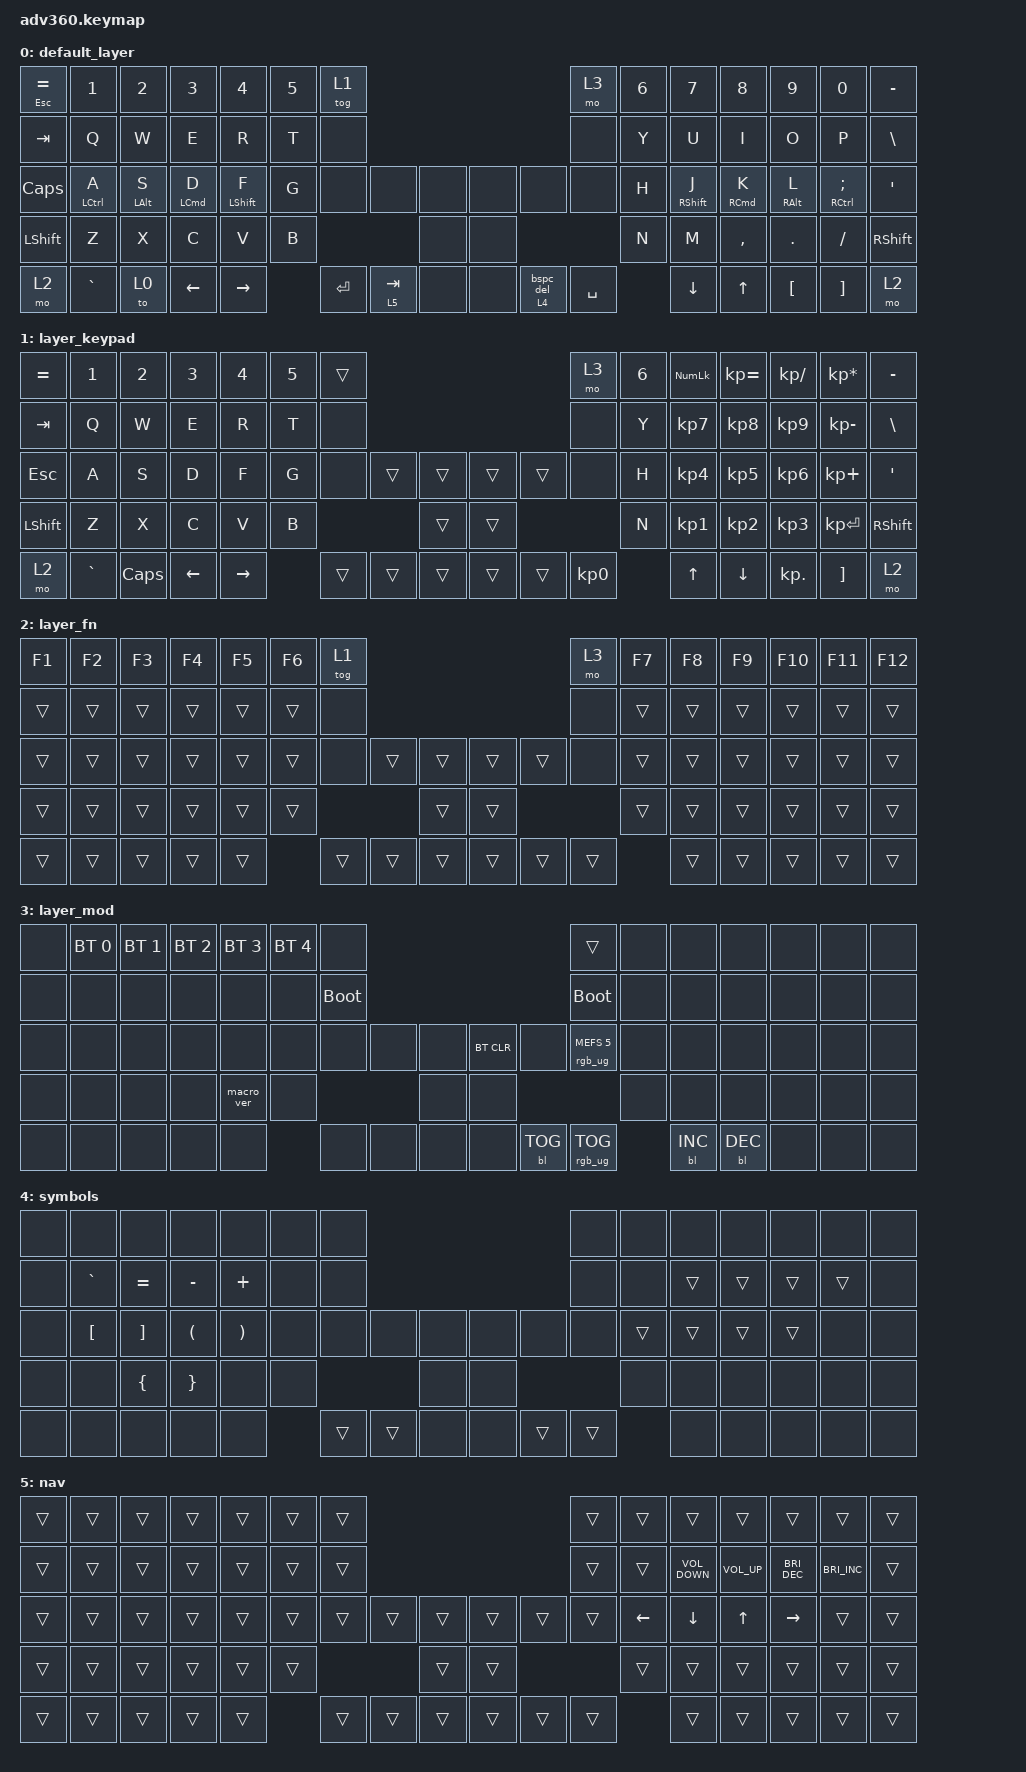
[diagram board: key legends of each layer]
/*
 * Copyright (c) 2020 The ZMK Contributors
 *
 * SPDX-License-Identifier: MIT
 */
/* THIS FILE WAS GENERATED!
 *
 * This file was generated automatically. You may or may not want to
 * edit it directly.
 */

#include <behaviors.dtsi>
#include <dt-bindings/zmk/backlight.h>
#include <dt-bindings/zmk/bt.h>
#include <dt-bindings/zmk/keys.h>
#include <dt-bindings/zmk/rgb.h>

/ {
    behaviors {
        #include "macros.dtsi"
    #include "version.dtsi"

        hm: homerow_mods {
            compatible = "zmk,behavior-hold-tap";
            label = "HOMEROW_MODS";
            #binding-cells = <2>;
            tapping-term-ms = <200>;
            quick_tap_ms = <175>;
            flavor = "tap-preferred";
            bindings = <&kp>, <&kp>;
        };

        bspc_del: backspace_delete {
            compatible = "zmk,behavior-mod-morph";
            label = "BACKSPACE_DELETE";
            bindings = <&kp BACKSPACE>, <&kp DELETE>;

            #binding-cells = <0>;
            mods = <(MOD_LSFT|MOD_RSFT)>;
        };

        hl: hidden_layer {
            compatible = "zmk,behavior-hold-tap";
            label = "HIDDEN_LAYER";
            bindings = <&mo>, <&kp>;

            #binding-cells = <2>;
            tapping-term-ms = <200>;
            flavor = "balanced";
        };

        bsp_combo: bsp_combo {
            compatible = "zmk,behavior-hold-tap";
            label = "BSP_COMBO";
            bindings = <&kp>, <&bspc_del>;

            #binding-cells = <2>;
            tapping-term-ms = <200>;
            flavor = "balanced";
        };

        bsp_layer_combo: bsp_layer_combo {
            compatible = "zmk,behavior-hold-tap";
            label = "BSP_LAYER_COMBO";
            bindings = <&mo>, <&bspc_del>;

            #binding-cells = <2>;
            tapping-term-ms = <200>;
            flavor = "balanced";
        };
    };

    keymap {
        compatible = "zmk,keymap";

        default_layer {
            bindings = <
&mt ESCAPE EQUAL  &kp N1              &kp N2          &kp N3              &kp N4            &kp N5  &tog 1                                                        &mo 3      &kp N6  &kp N7             &kp N8               &kp N9           &kp N0                  &kp MINUS
&kp TAB           &kp Q               &kp W           &kp E               &kp R             &kp T   &none                                                         &none      &kp Y   &kp U              &kp I                &kp O            &kp P                   &kp BSLH
&kp CAPSLOCK      &mt LEFT_CONTROL A  &mt LEFT_ALT S  &mt LEFT_COMMAND D  &mt LEFT_SHIFT F  &kp G   &none      &none      &none      &none  &none                 &none      &kp H   &mt RIGHT_SHIFT J  &mt RIGHT_COMMAND K  &mt RIGHT_ALT L  &mt RIGHT_CONTROL SEMI  &kp SQT
&kp LSHFT         &kp Z               &kp X           &kp C               &kp V             &kp B                         &none      &none                                   &kp N   &kp M              &kp COMMA            &kp DOT          &kp FSLH                &kp RSHFT
&mo 2             &kp GRAVE           &to 0           &kp LEFT            &kp RIGHT                 &kp ENTER  &hl 5 TAB  &none      &none  &bsp_layer_combo 4 0  &kp SPACE          &kp DOWN           &kp UP               &kp LBKT         &kp RBKT                &mo 2
            >;
        };

        layer_keypad {
            bindings = <
&kp EQUAL  &kp N1     &kp N2    &kp N3    &kp N4     &kp N5  &trans                                      &mo 3      &kp N6  &kp KP_NUM  &kp KP_EQUAL  &kp KP_DIVIDE  &kp KP_MULTIPLY  &kp MINUS
&kp TAB    &kp Q      &kp W     &kp E     &kp R      &kp T   &none                                       &none      &kp Y   &kp KP_N7   &kp KP_N8     &kp KP_N9      &kp KP_MINUS     &kp BSLH
&kp ESC    &kp A      &kp S     &kp D     &kp F      &kp G   &none   &trans  &trans      &trans  &trans  &none      &kp H   &kp KP_N4   &kp KP_N5     &kp KP_N6      &kp KP_PLUS      &kp SQT
&kp LSHFT  &kp Z      &kp X     &kp C     &kp V      &kp B                   &trans      &trans                     &kp N   &kp KP_N1   &kp KP_N2     &kp KP_N3      &kp KP_ENTER     &kp RSHFT
&mo 2      &kp GRAVE  &kp CAPS  &kp LEFT  &kp RIGHT          &trans  &trans  &trans      &trans  &trans  &kp KP_N0          &kp UP      &kp DOWN      &kp KP_DOT     &kp RBKT         &mo 2
            >;
        };

        layer_fn {
            bindings = <
&kp F1  &kp F2  &kp F3  &kp F4  &kp F5  &kp F6  &tog 1                                      &mo 3   &kp F7  &kp F8  &kp F9  &kp F10  &kp F11  &kp F12
&trans  &trans  &trans  &trans  &trans  &trans  &none                                       &none   &trans  &trans  &trans  &trans   &trans   &trans
&trans  &trans  &trans  &trans  &trans  &trans  &none   &trans  &trans      &trans  &trans  &none   &trans  &trans  &trans  &trans   &trans   &trans
&trans  &trans  &trans  &trans  &trans  &trans                  &trans      &trans                  &trans  &trans  &trans  &trans   &trans   &trans
&trans  &trans  &trans  &trans  &trans          &trans  &trans  &trans      &trans  &trans  &trans          &trans  &trans  &trans   &trans   &trans
            >;
        };

        layer_mod {
            bindings = <
&none  &bt BT_SEL 0  &bt BT_SEL 1  &bt BT_SEL 2  &bt BT_SEL 3  &bt BT_SEL 4  &none                                                  &trans                  &none  &none       &none       &none  &none  &none
&none  &none         &none         &none         &none         &none         &bootloader                                            &bootloader             &none  &none       &none       &none  &none  &none
&none  &none         &none         &none         &none         &none         &none        &none  &none      &bt BT_CLR  &none       &rgb_ug RGB_MEFS_CMD 5  &none  &none       &none       &none  &none  &none
&none  &none         &none         &none         &macro_ver    &none                             &none      &none                                           &none  &none       &none       &none  &none  &none
&none  &none         &none         &none         &none                       &none        &none  &none      &none       &bl BL_TOG  &rgb_ug RGB_TOG                &bl BL_INC  &bl BL_DEC  &none  &none  &none
            >;
        };

        symbols {
            bindings = <
&none  &none             &none              &none                 &none                  &none  &none                                     &none   &none   &none   &none   &none   &none   &none
&none  &kp GRAVE         &kp EQUAL          &kp MINUS             &kp PLUS               &none  &none                                     &none   &none   &trans  &trans  &trans  &trans  &none
&none  &kp LEFT_BRACKET  &kp RIGHT_BRACKET  &kp LEFT_PARENTHESIS  &kp RIGHT_PARENTHESIS  &none  &none   &none   &none      &none  &none   &none   &trans  &trans  &trans  &trans  &none   &none
&none  &none             &kp LEFT_BRACE     &kp RIGHT_BRACE       &none                  &none                  &none      &none                  &none   &none   &none   &none   &none   &none
&none  &none             &none              &none                 &none                         &trans  &trans  &none      &none  &trans  &trans          &none   &none   &none   &none   &none
            >;
        };

        nav {
            bindings = <
&trans  &trans  &trans  &trans  &trans  &trans  &trans                                      &trans  &trans    &trans             &trans           &trans                &trans                &trans
&trans  &trans  &trans  &trans  &trans  &trans  &trans                                      &trans  &trans    &kp C_VOLUME_DOWN  &kp C_VOLUME_UP  &kp C_BRIGHTNESS_DEC  &kp C_BRIGHTNESS_INC  &trans
&trans  &trans  &trans  &trans  &trans  &trans  &trans  &trans  &trans      &trans  &trans  &trans  &kp LEFT  &kp DOWN           &kp UP_ARROW     &kp RIGHT             &trans                &trans
&trans  &trans  &trans  &trans  &trans  &trans                  &trans      &trans                  &trans    &trans             &trans           &trans                &trans                &trans
&trans  &trans  &trans  &trans  &trans          &trans  &trans  &trans      &trans  &trans  &trans            &trans             &trans           &trans                &trans                &trans
            >;
        };
    };
};
